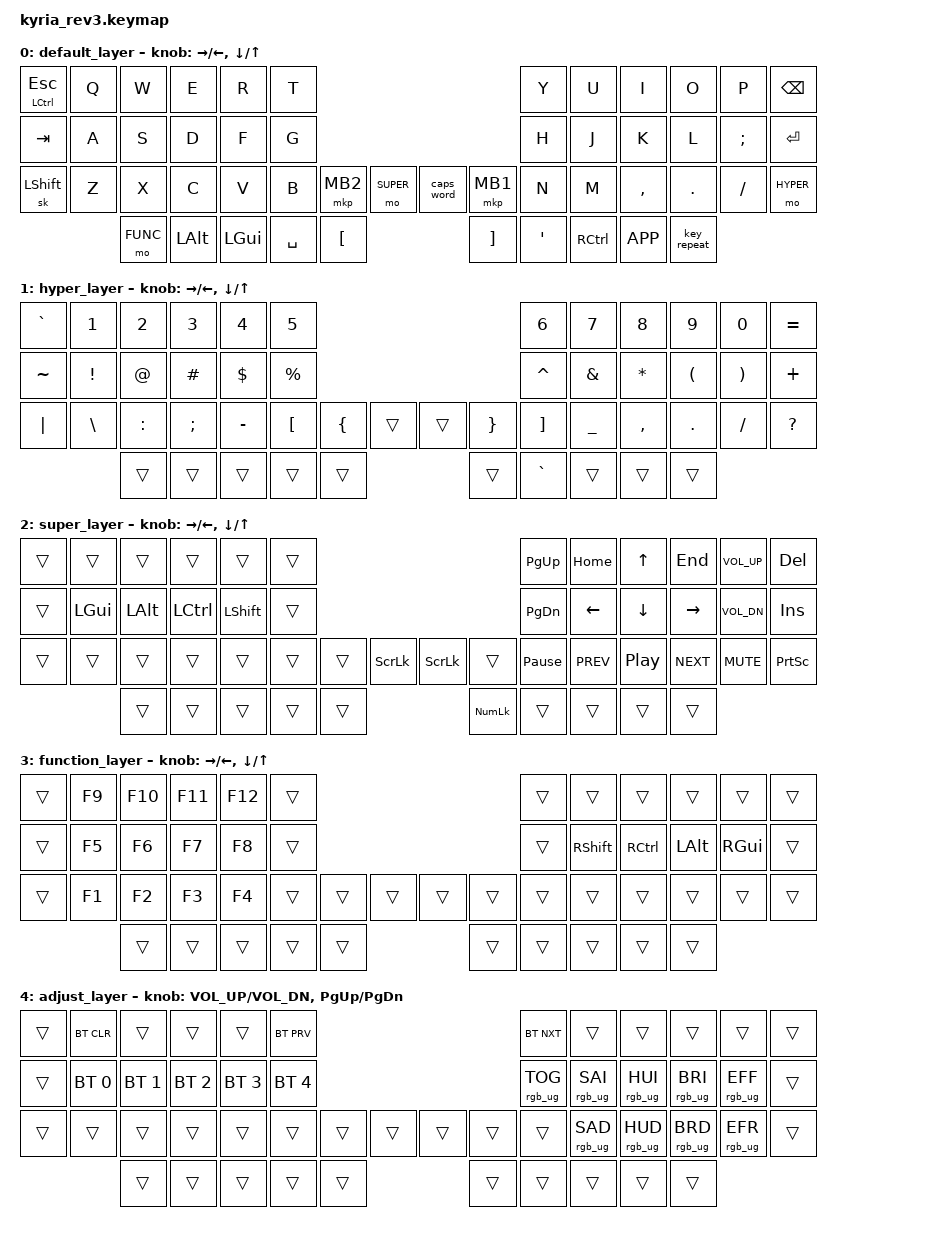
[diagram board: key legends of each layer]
/*
 * Copyright (c) 2023 The ZMK Contributors
 *
 * SPDX-License-Identifier: MIT
 */

#include <behaviors.dtsi>
#include <dt-bindings/zmk/bt.h>
#include <dt-bindings/zmk/keys.h>
#include <dt-bindings/zmk/rgb.h>
#include <dt-bindings/zmk/mouse.h>

/* Layer definitions */
#define QWERTY  0
#define HYPER   1
#define SUPER   2
#define FUNC    3
#define ADJUST  4

/*
 * OS-aware modifier aliases
 * Mac mode:  LGUI (Cmd), RCTRL, K_APP
 * PC mode:   LCTRL, K_APP, RGUI (Win)
 */
#define OS_MOD1 LGUI
#define OS_MOD2 RCTRL
#define OS_MOD3 K_APP

&led_strip {
    chain-length = <31>; // Per-key + underglow LEDs
};

/ {
    conditional_layers {
        compatible = "zmk,conditional-layers";

        /* Hold HYPER + SUPER simultaneously to activate ADJUST */
        adjust_tri_layer {
            if-layers = <HYPER SUPER>;
            then-layer = <ADJUST>;
        };
    };

    keymap {
        compatible = "zmk,keymap";

        default_layer {
            // ---------------------------------------------------------------------------------------------------------------------------------
            // |Ctrl/Esc|   Q  |   W  |   E  |   R  |   T  |                              |   Y  |   U  |   I  |   O  |   P  |  Bksp  |
            // |  Tab   |   A  |   S  |   D  |   F  |   G  |                              |   H  |   J  |   K  |   L  | ;  : |  Enter |
            // | Sticky |   Z  |   X  |   C  |   V  |   B  |RClick| Super|  |CapsWd|LClick|   N  |   M  | ,  < | . >  | /  ? |  Hyper |
            // | LShift |      |      |      |      |      |      |      |  |      |      |      |      |      |      |      |        |
            //                        |F-keys| LAlt |OS_MOD| Space| [ {  |  | ] }  | ' "  |OS_MOD|OS_MOD|KeyRpt|
            //                        |      |      |  1   |      |      |  |      |      |  2   |  3   |      |
            bindings = <
            &mt LCTRL ESC &kp Q &kp W &kp E &kp R &kp T                                                    &kp Y &kp U  &kp I     &kp O   &kp P    &kp BSPC
            &kp TAB       &kp A &kp S &kp D &kp F &kp G                                                    &kp H &kp J  &kp K     &kp L   &kp SEMI &kp RET
            &sk LSHFT     &kp Z &kp X &kp C &kp V &kp B &mkp MB2   &mo SUPER      &caps_word  &mkp MB1     &kp N &kp M  &kp COMMA &kp DOT &kp FSLH &mo HYPER
                                  &mo FUNC &kp LALT &kp OS_MOD1 &kp SPACE &kp LBKT   &kp RBKT &kp SQT &kp OS_MOD2 &kp OS_MOD3 &key_repeat
            >;

            sensor-bindings = <&inc_dec_kp RIGHT LEFT &inc_dec_kp DOWN UP>;
        };

        hyper_layer {
            // ---------------------------------------------------------------------------------------------------------------------------------
            // |    `   |  1   |  2   |  3   |  4   |  5   |                              |   6  |  7   |  8   |  9   |  0   |   =    |
            // |    ~   |  !   |  @   |  #   |  $   |  %   |                              |   ^  |  &   |  *   |  (   |  )   |   +    |
            // |    |   |   \  |  :   |  ;   |  -   |  [   |  {   |      |  |      |   }  |   ]  |  _   |  ,   |  .   |  /   |   ?    |
            //                        |      |      |      |      |      |  |      |   `  |      |      |      |
            bindings = <
            &kp GRAVE &kp N1   &kp N2    &kp N3   &kp N4    &kp N5                                             &kp N6    &kp N7    &kp N8    &kp N9   &kp N0   &kp EQUAL
            &kp TILDE &kp EXCL &kp AT    &kp HASH &kp DLLR  &kp PRCNT                                         &kp CARET &kp AMPS  &kp ASTRK &kp LPAR &kp RPAR &kp PLUS
            &kp PIPE  &kp BSLH &kp COLON &kp SEMI &kp MINUS &kp LBKT  &kp LBRC &trans         &trans &kp RBRC &kp RBKT  &kp UNDER &kp COMMA &kp DOT  &kp FSLH &kp QMARK
                                          &trans   &trans    &trans    &trans   &trans         &trans &kp GRAVE &trans    &trans    &trans
            >;

            sensor-bindings = <&inc_dec_kp RIGHT LEFT &inc_dec_kp DOWN UP>;
        };

        super_layer {
            // ---------------------------------------------------------------------------------------------------------------------------------
            // |        |      |      |      |      |      |                              | PgUp | Home |  Up  | End  | VolUp| Delete |
            // |        |  GUI |  Alt | Ctrl | Shift|      |                              | PgDn | Left | Down | Right| VolDn| Insert |
            // |        |      |      |      |      |      |      |ScLck |  |ScLck |      | Pause|M Prev|M Play|M Next|VolMut| PrtSc  |
            //                        |      |      |      |      |      |  |NumLck|      |      |      |      |
            bindings = <
            &trans &trans   &trans   &trans    &trans    &trans                                                  &kp PG_UP       &kp HOME   &kp UP   &kp END    &kp C_VOL_UP &kp DEL
            &trans &kp LGUI &kp LALT &kp LCTRL &kp LSHFT &trans                                                &kp PG_DN       &kp LEFT   &kp DOWN &kp RIGHT  &kp C_VOL_DN &kp INS
            &trans &trans   &trans   &trans    &trans    &trans  &trans &kp SLCK        &kp SLCK &trans         &kp PAUSE_BREAK &kp C_PREV &kp C_PP &kp C_NEXT &kp C_MUTE   &kp PSCRN
                                     &trans    &trans    &trans  &trans &trans           &kp KP_NUM &trans      &trans          &trans     &trans
            >;

            sensor-bindings = <&inc_dec_kp RIGHT LEFT &inc_dec_kp DOWN UP>;
        };

        function_layer {
            // ---------------------------------------------------------------------------------------------------------------------------------
            // |        |  F9  | F10  | F11  | F12  |      |                              |      |      |      |      |      |        |
            // |        |  F5  |  F6  |  F7  |  F8  |      |                              |      | Shift| Ctrl |  Alt |  GUI |        |
            // |        |  F1  |  F2  |  F3  |  F4  |      |      |      |  |      |      |      |      |      |      |      |        |
            //                        |      |      |      |      |      |  |      |      |      |      |      |
            bindings = <
            &trans &kp F9 &kp F10 &kp F11 &kp F12 &trans                                         &trans &trans    &trans    &trans   &trans   &trans
            &trans &kp F5 &kp F6  &kp F7  &kp F8  &trans                                         &trans &kp RSHFT &kp RCTRL &kp LALT &kp RGUI &trans
            &trans &kp F1 &kp F2  &kp F3  &kp F4  &trans &trans &trans         &trans &trans      &trans &trans    &trans    &trans   &trans   &trans
                                  &trans   &trans   &trans &trans &trans         &trans &trans      &trans &trans    &trans
            >;

            sensor-bindings = <&inc_dec_kp RIGHT LEFT &inc_dec_kp DOWN UP>;
        };

        adjust_layer {
            // Activated by holding HYPER + SUPER simultaneously (tri-layer)
            // ---------------------------------------------------------------------------------------------------------------------------------
            // |        |BT CLR|      |      |      |BT PRV|                              |BT NXT|      |      |      |      |        |
            // |        | BT 0 | BT 1 | BT 2 | BT 3 | BT 4 |                             | TOG  | SAI  | HUI  | BRI  | EFF  |        |
            // |        |      |      |      |      |      |      |      |  |      |      |      | SAD  | HUD  | BRD  | EFR  |        |
            //                        |      |      |      |      |      |  |      |      |      |      |      |
            bindings = <
            &trans &bt BT_CLR   &trans       &trans       &trans       &bt BT_PRV                                         &bt BT_NXT      &trans          &trans          &trans          &trans          &trans
            &trans &bt BT_SEL 0 &bt BT_SEL 1 &bt BT_SEL 2 &bt BT_SEL 3 &bt BT_SEL 4                                    &rgb_ug RGB_TOG &rgb_ug RGB_SAI &rgb_ug RGB_HUI &rgb_ug RGB_BRI &rgb_ug RGB_EFF &trans
            &trans &trans       &trans       &trans       &trans       &trans       &trans &trans         &trans &trans    &trans          &rgb_ug RGB_SAD &rgb_ug RGB_HUD &rgb_ug RGB_BRD &rgb_ug RGB_EFR &trans
                                             &trans       &trans       &trans       &trans &trans         &trans &trans    &trans          &trans          &trans
            >;

            sensor-bindings = <&inc_dec_kp C_VOL_UP C_VOL_DN &inc_dec_kp PG_UP PG_DN>;
        };
    };
};
